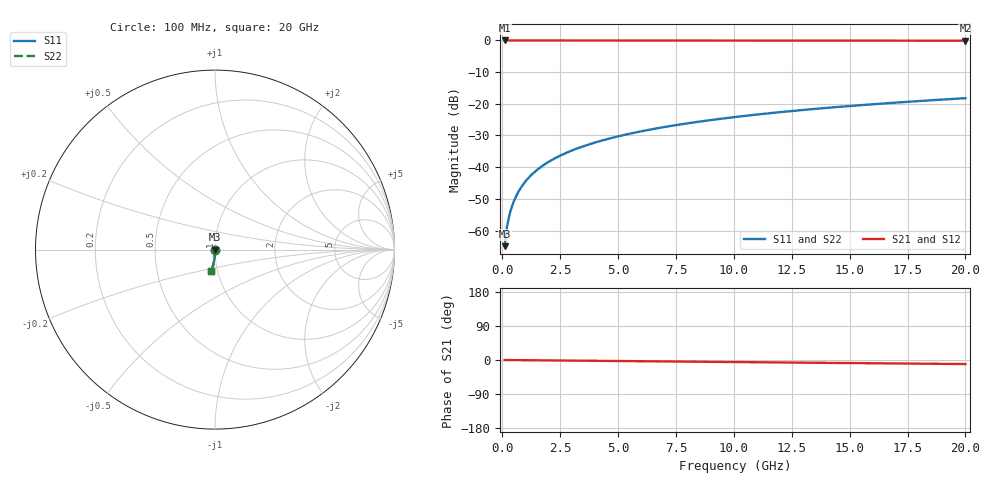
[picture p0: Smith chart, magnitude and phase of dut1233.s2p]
! Touchstone file exported from HFSS 2026.1.0
!  File:  C:/ffzhzh/LocalFiles/Ansys_Project_Files/temp_train_TSV_1233_1783193337_43440.aedt
!  Generated:  03:30:11 AM Jul  5, 2026
!  Design:  TSV
!  Project:  temp_train_TSV_1233_1783193337_43440
! Variables:
!  h_bsmrdl = 2um
!  h_ox = 20um
!  h_rdl = 5um
!  h_sub = 86.83um
!  h_tmrdl = 5um
!  h_tsv = 86.83um
!  h_via = 3um
!  l_bsmrdl = 300um
!  l_sub = 429.9um
!  l_tmrdl = 200um
!  m_sub = 200um
!  pitch = 35.47um
!  r_tsv = 14.95um
!  s_tmrdl = 10um
!  w_bsmrdl = 18um
!  w_sub = 500um
!  w_tmrdl = 12um
!  x_tsv_center1 = 206um
!  x_tsv_center2 = 524um
!  x_tsv_center3 = 736um
!  x_tsv_center4 = 1054um
!  x_tsv_center5 = 1266um
!  x_tsv_center6 = 1584um
# GHz S MA R 50.000000
! Terminal data exported
! Port[1] = TSV1_1_T1
! Port[2] = TSV1_1_T2
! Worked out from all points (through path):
!   200 points, 100 MHz to 20 GHz, reference 50 ohm
!   highest |S21| = 0.00 dB at 100 MHz (marker M1); lowest = -0.1 dB at 20 GHz (marker M2)
!   group delay of S21, straight-line fit = 1.49 ps
!   lowest |S11| = -64.9 dB at 100 MHz (marker M3), VSWR 1.00, Z = 50 - j0.056 ohm
!   |S11| at or under -10 dB: start of sweep to end of sweep
!   |S22| runs from -64.9 to -18.2 dB; largest |S21 - S12| = 6.6e-15
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0.1  0.0005666 -80.9  0.9999 -0.1  0.9999 -0.1  0.0005666 -80.9
! Gamma 0 0 0 0
! Port Impedance 50 0 50 0
0.2  0.001131 -84.4  0.9999 -0.1  0.9999 -0.1  0.001131 -84.4
0.3  0.001709 -85.3  0.9999 -0.2  0.9999 -0.2  0.001709 -85.3
0.4  0.002298 -85.8  0.9998 -0.2  0.9998 -0.2  0.002298 -85.8
0.5  0.002897 -86.1  0.9998 -0.3  0.9998 -0.3  0.002897 -86.1
0.7  0.004115 -86.6  0.9997 -0.4  0.9997 -0.4  0.004115 -86.6
0.8  0.004729 -86.9  0.9997 -0.4  0.9997 -0.4  0.004729 -86.9
1  0.005962 -87.3  0.9996 -0.6  0.9996 -0.6  0.005962 -87.3
1.2  0.007196 -87.7  0.9996 -0.7  0.9996 -0.7  0.007196 -87.7
1.4  0.00843 -88.1  0.9996 -0.8  0.9996 -0.8  0.00843 -88.1
1.7  0.01028 -88.6  0.9995 -0.9  0.9995 -0.9  0.01028 -88.6
2  0.01213 -89.0  0.9995 -1.1  0.9995 -1.1  0.01213 -89.0
2.7  0.01644 -89.7  0.9994 -1.5  0.9994 -1.5  0.01644 -89.7
3.5  0.02138 -90.4  0.9992 -1.9  0.9992 -1.9  0.02138 -90.4
4.2  0.0257 -90.9  0.999 -2.3  0.999 -2.3  0.0257 -90.9
5  0.03064 -91.4  0.9988 -2.7  0.9988 -2.7  0.03064 -91.4
6.8  0.04178 -92.6  0.9983 -3.7  0.9983 -3.7  0.04178 -92.6
8.3  0.05106 -93.5  0.9978 -4.5  0.9978 -4.5  0.05106 -93.5
10.1  0.06218 -94.5  0.9971 -5.4  0.9971 -5.4  0.06218 -94.5
13.4  0.08249 -96.4  0.9954 -7.2  0.9954 -7.2  0.08249 -96.4
16.7  0.1027 -98.2  0.9934 -9.0  0.9934 -9.0  0.1027 -98.2
20  0.1227 -100.0  0.991 -10.7  0.991 -10.7  0.1227 -100.0
